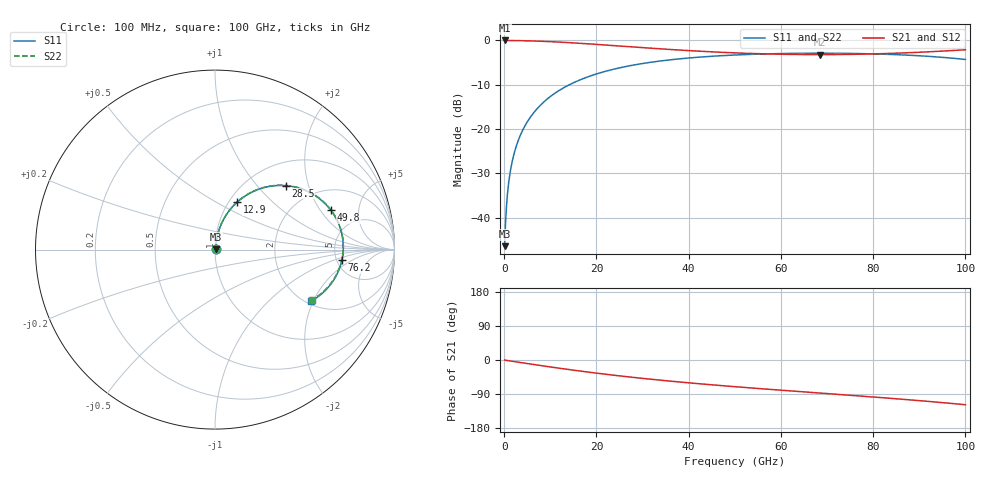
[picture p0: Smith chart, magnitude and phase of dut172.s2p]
! Touchstone file exported from HFSS 2026.1.0
!  File:  C:/ffzhzh/LocalFiles/Ansys_Project_Files/temp_train_RDL_172_1783500233_9504.aedt
!  Generated:  04:45:02 PM Jul  8, 2026
!  Design:  RDL
!  Project:  temp_train_RDL_172_1783500233_9504
! Variables:
!  h_bsmrdl = 2um
!  h_ox = 20um
!  h_rdl = 5um
!  h_sub = 80um
!  h_tmrdl = 2.43um
!  h_tsv = 80um
!  h_via = 3um
!  l_bsmrdl = 300um
!  l_sub = 801.24um
!  l_tmrdl = 401.24um
!  m_sub = 200um
!  pitch = 58.93um
!  r_tsv = 6um
!  s_tmrdl = 10um
!  w_bsmrdl = 18um
!  w_sub = 500um
!  w_tmrdl = 15.24um
!  x_tsv_center1 = 408.86um
!  x_tsv_center2 = 726.86um
!  x_tsv_center3 = 1143.34um
!  x_tsv_center4 = 1461.34um
!  x_tsv_center5 = 1877.82um
!  x_tsv_center6 = 2195.82um
# GHz S MA R 50.000000
! Terminal data exported
! Port[1] = TM_RDL1_1_T1
! Port[2] = TM_RDL1_1_T2
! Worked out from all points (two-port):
!   1000 points, 100 MHz to 100 GHz, reference 50 ohm
!   highest |S21| = -0.03 dB at 100 MHz (marker M1); lowest = -3.2 dB at 68.4 GHz (marker M2)
!   |S21| within 3 dB of the highest: start of sweep to 55.44 GHz; 81.43 GHz to end of sweep
!   lowest |S11| = -46.5 dB at 100 MHz (marker M3), VSWR 1.01, Z = 50.4 + j0.256 ohm
!   |S11| at or under -10 dB: start of sweep to 14.2 GHz
!   |S22| runs from -46.5 to -2.9 dB; largest |S21 - S12| = 1.4e-14
!   S11 on the Smith chart (normalised r, x): 100 MHz: 1.01, +0.01; 12.9 GHz: 1.09, +0.63; 28.5 GHz: 1.45, +1.44; 49.8 GHz: 3.07, +2.52; 76.2 GHz: 5.57, -1.32; 100 GHz: 2.12, -1.93
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0.1  0.004747 32.3  0.996 -0.2  0.996 -0.2  0.004747 32.3
! Gamma 0 0 0 0
! Port Impedance 50 0 50 0
0.4  0.01093 66.6  0.9957 -0.8  0.9957 -0.8  0.01093 66.6
0.8  0.02037 75.6  0.9953 -1.5  0.9953 -1.5  0.02037 75.6
1.3  0.03223 79.0  0.9947 -2.5  0.9947 -2.5  0.03222 79.0
1.7  0.04174 80.0  0.9942 -3.2  0.9942 -3.2  0.04173 80.0
2.2  0.05364 80.5  0.9935 -4.1  0.9935 -4.1  0.05364 80.5
3.4  0.08214 79.9  0.9913 -6.4  0.9913 -6.4  0.08214 79.9
5.1  0.1221 77.8  0.9869 -9.5  0.9869 -9.5  0.1221 77.8
7.2  0.1702 74.5  0.9792 -13.4  0.9792 -13.4  0.1702 74.6
9.8  0.2273 70.2  0.9668 -18.0  0.9668 -18.0  0.2273 70.3
12.9  0.2911 65.1  0.9487 -23.3  0.9487 -23.3  0.2911 65.2
16.8  0.3638 58.8  0.9225 -29.7  0.9225 -29.7  0.3638 58.9
22.1  0.4486 50.9  0.8837 -37.8  0.8837 -37.8  0.4486 51.0
28.5  0.5307 42.2  0.837 -46.6  0.837 -46.6  0.5307 42.4
33.4  0.5802 36.1  0.8038 -52.7  0.8038 -52.7  0.5802 36.4
49.8  0.6815 18.8  0.7217 -70.2  0.7217 -70.2  0.6815 19.2
50.1  0.6826 18.5  0.7207 -70.5  0.7207 -70.5  0.6826 18.9
66.7  0.7149 3.6  0.6898 -85.7  0.6898 -85.7  0.7149 4.1
68.4  0.7152 2.1  0.6895 -87.2  0.6895 -87.2  0.7152 2.6
76.2  0.7097 -4.8  0.6951 -94.1  0.6951 -94.1  0.7097 -4.2
83.4  0.6939 -11.3  0.7102 -100.8  0.7102 -100.8  0.6939 -10.7
100  0.6077 -28.1  0.7819 -118.0  0.7819 -118.0  0.6078 -27.5
